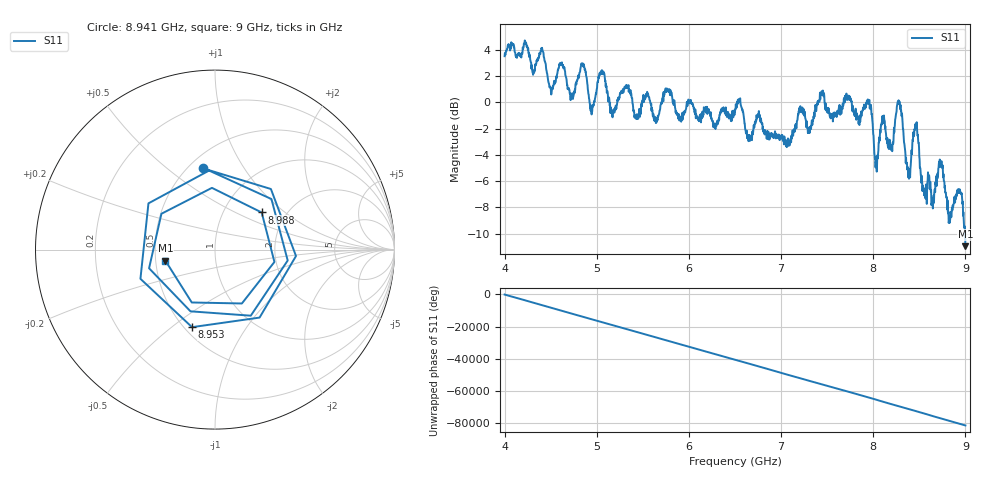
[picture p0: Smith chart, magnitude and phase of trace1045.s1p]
! Created with skrf 1.8.0 (http://scikit-rf.org).
# Hz S RI R 50.0
!freq ReS11 ImS11
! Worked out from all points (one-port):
!   1601 points, 4 GHz to 9 GHz, reference 50 ohm
!   lowest |S11| = -11.0 dB at 9 GHz (marker M1), VSWR 1.79, Z = 28.2 - j3.74 ohm
!   |S11| at or under -10 dB: 8.997409 GHz to end of sweep
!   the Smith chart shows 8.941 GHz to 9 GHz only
!   S11 on the Smith chart (normalised r, x): 8.941 GHz: 0.59, +0.67; 8.953 GHz: 0.55, -0.59; 8.988 GHz: 1.51, +0.70; 9 GHz: 0.56, -0.07
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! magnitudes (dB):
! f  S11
! 4 GHz  3.5
! 4.403 GHz  4.1
! 4.506 GHz  0.6
! 4.625 GHz  2.8
! 4.731 GHz  0.4
! 4.856 GHz  2.7
! 4.944 GHz  -0.9
! 5.05 GHz  2.3
! 5.166 GHz  -0.9
! 5.25 GHz  0.6
! 5.875 GHz  -1.0
! 6.5 GHz  -0.7
! 7.125 GHz  -2.1
! 7.444 GHz  0.7
! 7.75 GHz  0.2
! 7.956 GHz  0.2
! 8.034 GHz  -4.4
! 8.194 GHz  -3.6
! 8.281 GHz  -0.1
! 8.375 GHz  -4.9
! 8.459 GHz  -1.8
! 8.559 GHz  -7.0
! 8.731 GHz  -4.9
! 8.828 GHz  -8.7
! 8.941 GHz  -6.8
! 8.953 GHz  -6.9
! 8.988 GHz  -9.6
! 9 GHz  -11.0
